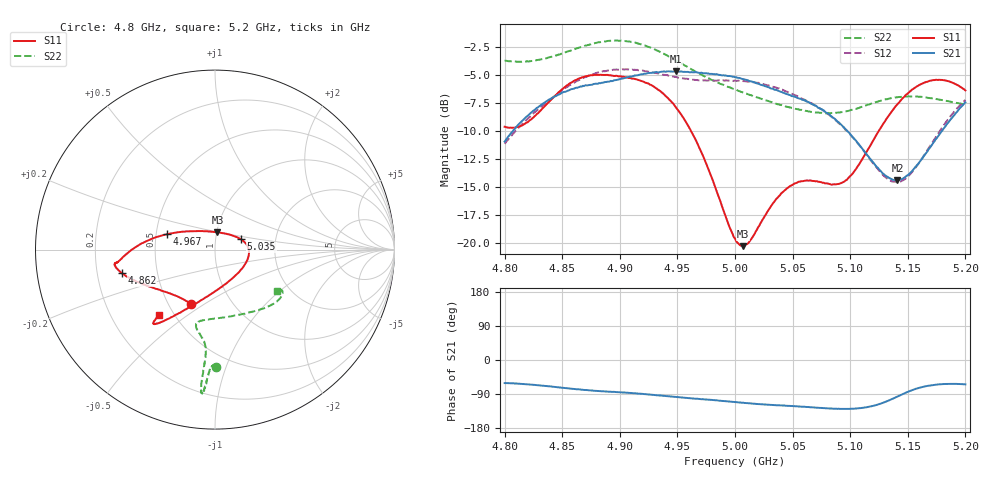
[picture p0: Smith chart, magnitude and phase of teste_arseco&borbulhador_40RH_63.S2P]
! Network Analyzer HP8722D
! Hewlett-Packard
! Data name: Linha & Wilkinson
! Saver's name: Rodrigo Anjos
! Comments: Teste da utilização de aquisição
! continua pelo VNA HP8722D
! Time and date: 15/4/2025 16:52
!  Frequency  S11  S21  S12  S22
# HZ  S  MA R 50
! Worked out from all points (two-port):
!   401 points, 4.8 GHz to 5.2 GHz, reference 50 ohm
!   highest |S21| = -4.65 dB at 4.949 GHz (marker M1); lowest = -14.4 dB at 5.141 GHz (marker M2)
!   |S21| within 3 dB of the highest: 4.832 GHz to 5.068 GHz (236.7 MHz wide, 4.78 % of centre); 5.197978 GHz to end of sweep
!   lowest |S11| = -20.3 dB at 5.007 GHz (marker M3), VSWR 1.22, Z = 50.4 + j9.79 ohm
!   |S11| at or under -10 dB: 4.962 GHz to 5.125 GHz (162.8 MHz wide, 3.23 % of centre)
!   |S22| runs from -8.4 to -1.9 dB; largest |S21 - S12| = 0.88
!   S11 on the Smith chart (normalised r, x): 4.8 GHz: 0.65, -0.44; 4.862 GHz: 0.31, -0.11; 4.967 GHz: 0.57, +0.11; 5.035 GHz: 1.33, +0.16; 5.2 GHz: 0.41, -0.39
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4.8e9  0.3314 -114.0  0.2844 -60.9  0.278 -175.1  0.6536 -89.6
4.819e9  0.3456 -133.8  0.3675 -64.0  0.3553 -173.5  0.6491 -91.2
4.862e9  0.5362 -165.9  0.4949 -77.0  0.5281 -176.6  0.7402 -93.7
4.867e9  0.5497 -167.9  0.501 -78.5  0.5432 -177.6  0.7537 -93.9
4.9e9  0.5567 -172.4  0.5405 -85.2  0.5974 175.7  0.802 -95.2
4.934e9  0.4822 -178.2  0.5796 -93.6  0.5727 171.8  0.7192 -95.8
4.949e9  0.4028 174.7  0.5857 -97.4  0.553 172.0  0.654 -95.4
4.967e9  0.2814 162.3  0.5793 -102.2  0.5357 173.9  0.5793 -95.2
5e9  0.105 105.7  0.5511 -111.0  0.5334 176.3  0.4863 -99.2
5.007e9  0.09707 81.9  0.5413 -112.7  0.5299 176.3  0.471 -101.0
5.013e9  0.1027 62.5  0.5289 -114.5  0.5248 176.0  0.4588 -102.2
5.035e9  0.1556 21.8  0.4838 -119.0  0.4968 174.9  0.4207 -103.8
5.05e9  0.1823 6.0  0.4538 -121.7  0.4635 174.4  0.4019 -100.2
5.067e9  0.1899 -12.3  0.4177 -124.7  0.4207 173.8  0.3857 -91.7
5.086e9  0.1834 -42.9  0.3616 -128.5  0.3591 173.7  0.3816 -77.5
5.097e9  0.1919 -65.8  0.319 -129.1  0.3189 174.6  0.3889 -68.4
5.134e9  0.3747 -116.6  0.1955 -106.1  0.1915 -158.8  0.4427 -43.4
5.141e9  0.4178 -120.4  0.1909 -96.3  0.1877 -147.9  0.4488 -40.2
5.152e9  0.4766 -124.9  0.2058 -81.5  0.2032 -130.8  0.4526 -36.4
5.17e9  0.5326 -128.8  0.2703 -66.9  0.2755 -112.9  0.4449 -32.3
5.184e9  0.531 -130.2  0.3408 -63.2  0.3518 -107.3  0.4317 -31.2
5.2e9  0.4813 -130.6  0.4259 -64.3  0.4367 -106.2  0.4159 -33.6
